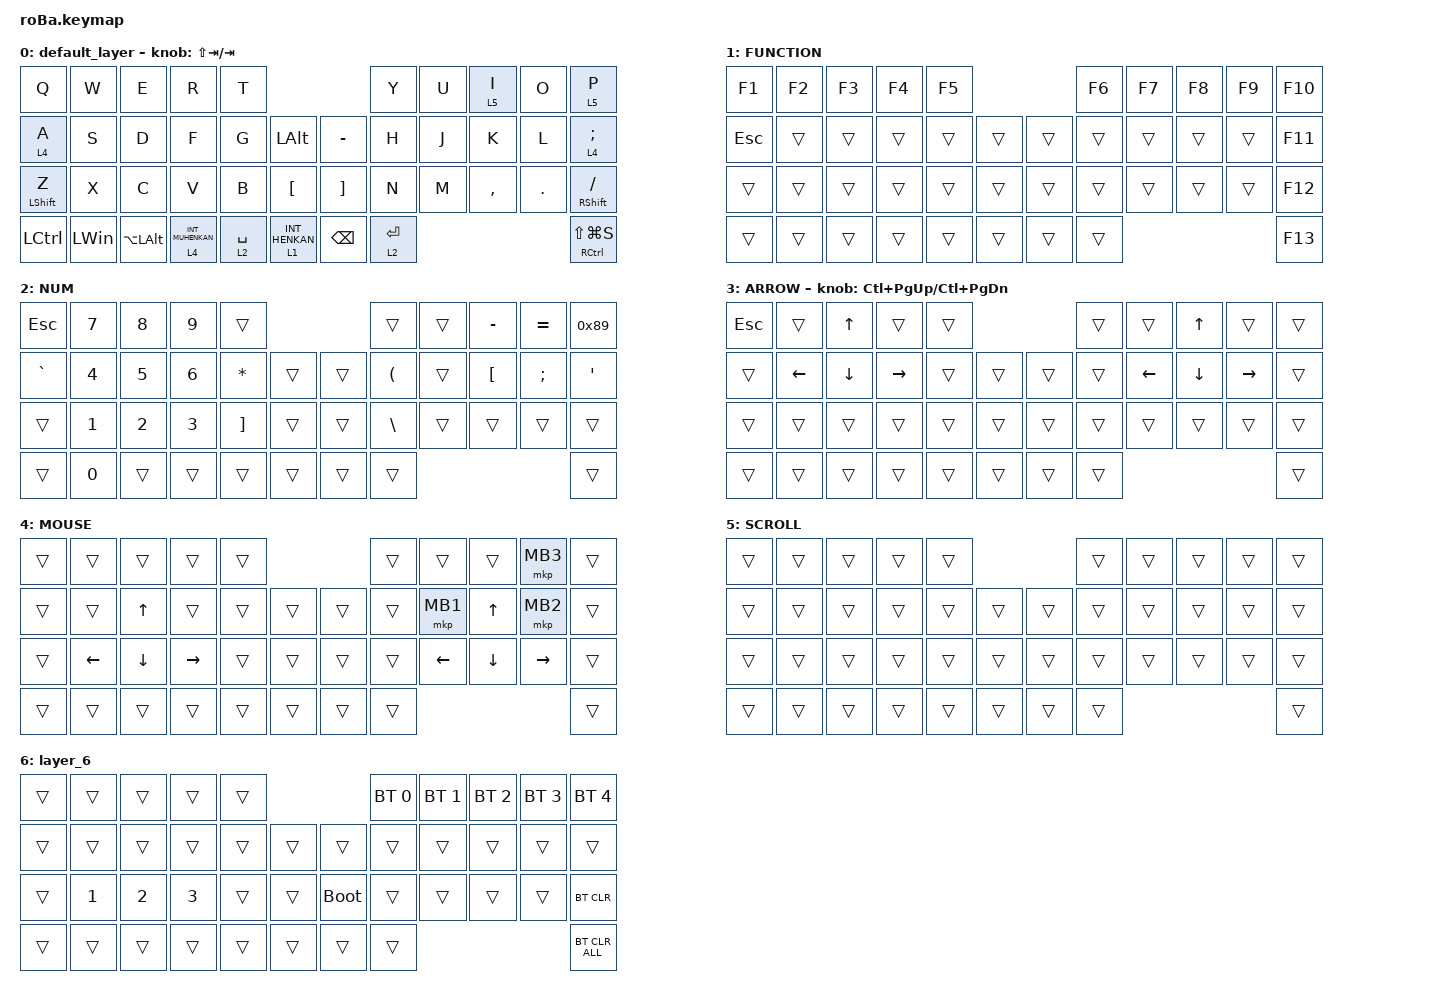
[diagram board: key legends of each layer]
#include <behaviors.dtsi>
#include <dt-bindings/zmk/bt.h>
#include <dt-bindings/zmk/keys.h>
#include <dt-bindings/zmk/pointing.h>

// OS設定を日本語キーボードのまま使用するための変換定義

#define JP_DQUOTE       AT                // "
#define JP_AMPERSAND    CARET             // &
#define JP_QUOTE        AMPERSAND         // '
#define JP_EQUAL        UNDER             // =
#define JP_CARET        EQUAL             // ^
#define JP_YEN          0x89              // ¥
#define JP_PLUS         COLON             // +
#define JP_TILDE        PLUS              // ~
#define JP_PIPE         LS(0x89)          // |
#define JP_AT           LEFT_BRACKET      // @
#define JP_COLON        SINGLE_QUOTE      // :
#define JP_ASTERISK     DOUBLE_QUOTES     // *
#define JP_BACKQUOTE    LEFT_BRACE        // `
#define JP_UNDERSCORE   LS(0x87)          // _
#define JP_LBRACKET     RIGHT_BRACKET     // [
#define JP_RBRACKET     BACKSLASH         // ]
#define JP_LPAREN       ASTERISK          // (
#define JP_RPAREN       LEFT_PARENTHESIS  // )
#define JP_LBRACE       RIGHT_BRACE       // {
#define JP_RBRACE       PIPE              // }
#define JP_KANA         LANGUAGE_1        // かな
#define JP_EISU         LANGUAGE_2        // 英数
#define JP_HANZEN       GRAVE             // 半角/全角

&mt {
    flavor = "balanced";
    quick-tap-ms = <0>;
};

&trackball {
    // automouse-layer = <4>;

    scroll-layers = <5>;

    // arrows {
    //     layers = <3>;
    //     bindings =
    //         <&kp RIGHT_ARROW>,
    //         <&kp LEFT_ARROW>,
    //         <&kp UP_ARROW>,
    //         <&kp DOWN_ARROW>;
    //     tick = <10>;
    //     wait-ms = <5>;
    //     tap-ms = <5>;
    // };
};

/ {
    combos {
        compatible = "zmk,combos";

        tab {
            bindings = <&kp TAB>;
            key-positions = <11 10>;
        };

        shift_tab {
            bindings = <&kp LS(TAB)>;
            key-positions = <11 12>;
        };

        minus {
            bindings = <&kp MINUS>;
            key-positions = <8 9>;
        };

        under {
            bindings = <&kp LS(0x87)>;
            key-positions = <33 32>;
        };

        layer_to_6 {
            bindings = <&to 6>;
            key-positions = <37 38>;
        };

        Escape {
            bindings = <&kp ESCAPE>;
            key-positions = <0 1>;
        };

        undo {
            bindings = <&kp LC(Z)>;
            key-positions = <34 22>;
        };

        redo {
            bindings = <&kp LS(LC(Z))>;
            key-positions = <34 22 10>;
        };
    };

    macros {
        to_layer_0: to_layer_0 {
            compatible = "zmk,behavior-macro-one-param";
            #binding-cells = <1>;
            bindings = <&to 0 &macro_param_1to1 &kp MACRO_PLACEHOLDER>;
            label = "TO_LAYER_0";
        };
    };

    behaviors {
        lt_to_layer_0: lt_to_layer_0 {
            compatible = "zmk,behavior-hold-tap";
            label = "LAYER_TAP_TO_0";
            bindings = <&mo>, <&to_layer_0>;

            #binding-cells = <2>;
            tapping-term-ms = <200>;
        };
    };

    keymap {
        compatible = "zmk,keymap";

        default_layer {
            bindings = <
&kp Q             &kp W         &kp E             &kp R                          &kp T                                                                       &kp Y        &kp U  &lt 5 I    &kp O    &lt 5 P
&lt 4 A           &kp S         &kp D             &kp F                          &kp G                   &kp LEFT_ALT                     &kp MINUS          &kp H        &kp J  &kp K      &kp L    &lt 4 SEMICOLON
&mt LEFT_SHIFT Z  &kp X         &kp C             &kp V                          &kp B                   &kp LEFT_BRACKET                 &kp RIGHT_BRACKET  &kp N        &kp M  &kp COMMA  &kp DOT  &mt RIGHT_SHIFT SLASH
&kp LCTRL         &kp LEFT_WIN  &kp LA(LEFT_ALT)  &lt_to_layer_0 4 INT_MUHENKAN  &lt_to_layer_0 2 SPACE  &lt_to_layer_0 1 INT_HENKAN      &kp BACKSPACE      &lt 2 ENTER                             &mt RIGHT_CONTROL LS(LG(S))
            >;

            sensor-bindings = <&inc_dec_kp LS(TAB) TAB>;
        };

        FUNCTION {
            bindings = <
&kp F1      &kp F2  &kp F3  &kp F4  &kp F5                      &kp F6  &kp F7  &kp F8  &kp F9  &kp F10
&kp ESCAPE  &trans  &trans  &trans  &trans  &trans      &trans  &trans  &trans  &trans  &trans  &kp F11
&trans      &trans  &trans  &trans  &trans  &trans      &trans  &trans  &trans  &trans  &trans  &kp F12
&trans      &trans  &trans  &trans  &trans  &trans      &trans  &trans                          &kp F13
            >;
        };

        NUM {
            bindings = <
&kp ESCAPE  &kp NUMBER_7  &kp NUMBER_8  &kp NUMBER_9  &trans                                 &trans                &trans  &kp MINUS         &kp EQUAL  &kp 0x89
&kp GRAVE   &kp NUMBER_4  &kp NUMBER_5  &kp NUMBER_6  &kp ASTERISK       &trans      &trans  &kp LEFT_PARENTHESIS  &trans  &kp LEFT_BRACKET  &kp SEMI   &kp SINGLE_QUOTE
&trans      &kp NUMBER_1  &kp NUMBER_2  &kp NUMBER_3  &kp RIGHT_BRACKET  &trans      &trans  &kp BACKSLASH         &trans  &trans            &trans     &trans
&trans      &kp NUMBER_0  &trans        &trans        &trans             &trans      &trans  &trans                                                     &trans
            >;
        };

        ARROW {
            bindings = <
&kp ESCAPE  &trans          &kp UP_ARROW    &trans           &trans                      &trans  &trans          &kp UP_ARROW    &trans           &trans
&trans      &kp LEFT_ARROW  &kp DOWN_ARROW  &kp RIGHT_ARROW  &trans  &trans      &trans  &trans  &kp LEFT_ARROW  &kp DOWN_ARROW  &kp RIGHT_ARROW  &trans
&trans      &trans          &trans          &trans           &trans  &trans      &trans  &trans  &trans          &trans          &trans           &trans
&trans      &trans          &trans          &trans           &trans  &trans      &trans  &trans                                                   &trans
            >;

            sensor-bindings = <&inc_dec_kp LC(PAGE_UP) LC(PAGE_DOWN)>;
        };

        MOUSE {
            bindings = <
&trans  &trans          &trans          &trans           &trans                      &trans  &trans    &trans          &mkp MB3         &trans
&trans  &trans          &kp UP_ARROW    &trans           &trans  &trans      &trans  &trans  &mkp MB1  &kp UP_ARROW    &mkp MB2         &trans
&trans  &kp LEFT_ARROW  &kp DOWN_ARROW  &kp RIGHT_ARROW  &trans  &trans      &trans  &trans  &kp LEFT  &kp DOWN_ARROW  &kp RIGHT_ARROW  &trans
&trans  &trans          &trans          &trans           &trans  &trans      &trans  &trans                                             &trans
            >;
        };

        SCROLL {
            bindings = <
&trans  &trans  &trans  &trans  &trans                      &trans  &trans  &trans  &trans  &trans
&trans  &trans  &trans  &trans  &trans  &trans      &trans  &trans  &trans  &trans  &trans  &trans
&trans  &trans  &trans  &trans  &trans  &trans      &trans  &trans  &trans  &trans  &trans  &trans
&trans  &trans  &trans  &trans  &trans  &trans      &trans  &trans                          &trans
            >;
        };

        layer_6 {
            bindings = <
&trans  &trans        &trans        &trans        &trans                           &bt BT_SEL 0  &bt BT_SEL 1  &bt BT_SEL 2  &bt BT_SEL 3  &bt BT_SEL 4
&trans  &trans        &trans        &trans        &trans  &trans      &trans       &trans        &trans        &trans        &trans        &trans
&trans  &kp NUMBER_1  &kp NUMBER_2  &kp NUMBER_3  &trans  &trans      &bootloader  &trans        &trans        &trans        &trans        &bt BT_CLR
&trans  &trans        &trans        &trans        &trans  &trans      &trans       &trans                                                  &bt BT_CLR_ALL
            >;
        };
    };
};
